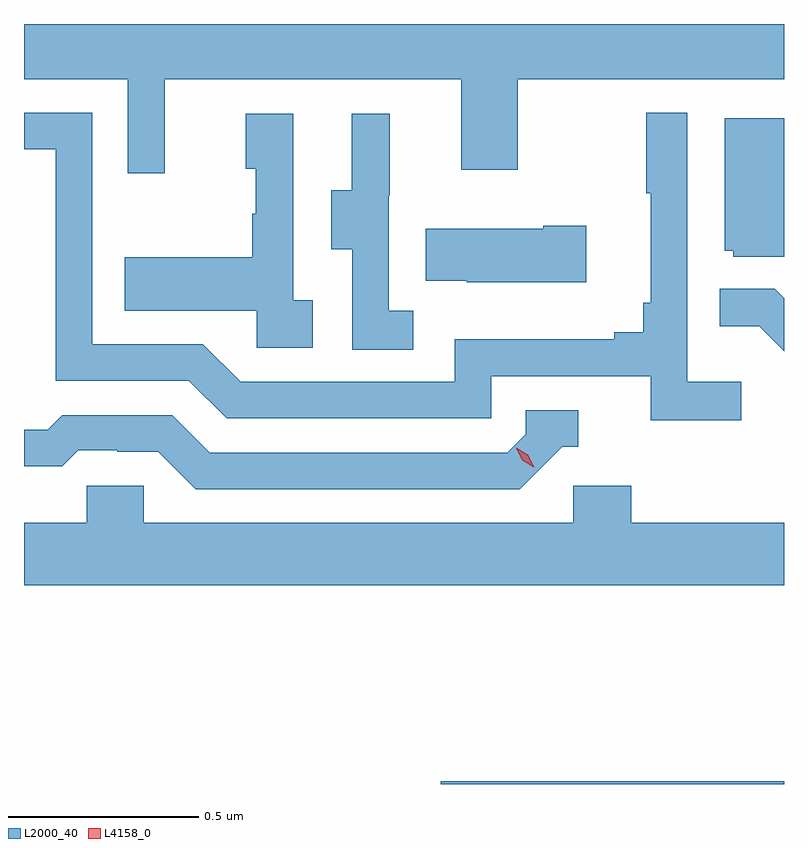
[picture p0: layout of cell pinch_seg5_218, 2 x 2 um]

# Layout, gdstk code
import gdstk
lib = gdstk.Library(unit=1e-6, precision=1e-09)
def R(c, l, rs):  # rectangles x0, y0, x1, y1
    for r in rs: c.add(gdstk.rectangle(r[:2], r[2:], *l))
def P(c, l, *ps):  # polygons
    for p in ps: c.add(gdstk.Polygon(p, *l))
L2000_40 = (2000, 40)
L4158_0 = (4158, 0)

pinch_seg5_218 = lib.new_cell('pinch_seg5_218')
R(pinch_seg5_218, L2000_40, [(961.355,910.849,962.258,910.856)])
P(pinch_seg5_218, L2000_40, [(960.629,912.704),(961.409,912.704),(961.409,912.465),(961.557,912.465),(961.557,912.704),(962.258,912.704),(962.258,912.849),(960.258,912.849),(960.258,912.704),(960.531,912.704),(960.531,912.456),(960.629,912.456)],
  [(962.146,911.908),(962.004,911.908),(962.004,912.616),(961.896,912.616),(961.896,912.403),(961.907,912.403),(961.907,912.115),(961.888,912.115),(961.888,912.038),(961.811,912.038),(961.811,912.019),(961.392,912.019),(961.392,911.907),(960.828,911.907),(960.729,912.006),(960.438,912.006),(960.438,912.615),(960.258,912.615),(960.258,912.519),(960.342,912.519),(960.342,911.91),(960.692,911.91),(960.791,911.811),(961.488,911.811),(961.488,911.922),(961.907,911.922),(961.907,911.806),(962.146,911.806)],
  [(961.018,912.122),(960.966,912.122),(960.966,912.613),(960.842,912.613),(960.842,912.468),(960.868,912.468),(960.868,912.35),(960.858,912.35),(960.858,912.235),(960.523,912.235),(960.523,912.095),(960.87,912.095),(960.87,911.997),(961.018,911.997)],
  [(961.282,912.095),(961.218,912.095),(961.218,912.399),(961.22,912.399),(961.22,912.613),(961.121,912.613),(961.121,912.411),(961.067,912.411),(961.067,912.256),(961.122,912.256),(961.122,911.992),(961.282,911.992)],
  [(962.258,912.601),(962.102,912.601),(962.102,912.252),(962.124,912.252),(962.124,912.237),(962.258,912.237)],
  [(961.738,912.318),(961.625,912.318),(961.625,912.31),(961.315,912.31),(961.315,912.173),(961.423,912.173),(961.423,912.17),(961.738,912.17)],
  [(962.258,912.127),(962.233,912.152),(962.089,912.152),(962.089,912.053),(962.193,912.053),(962.258,911.988)],
  [(961.674,911.736),(961.717,911.736),(961.717,911.832),(961.578,911.832),(961.578,911.769),(961.53,911.721),(960.747,911.721),(960.648,911.82),(960.359,911.82),(960.32,911.781),(960.258,911.781),(960.258,911.685),(960.359,911.685),(960.401,911.727),(960.504,911.727),(960.504,911.724),(960.611,911.724),(960.71,911.625),(961.563,911.625)],
  [(962.258,911.536),(961.856,911.536),(961.856,911.634),(961.704,911.634),(961.704,911.536),(960.573,911.536),(960.573,911.634),(960.423,911.634),(960.423,911.536),(960.258,911.536),(960.258,911.372),(962.258,911.372)])
P(pinch_seg5_218, L4158_0, [(961.6,911.682),(961.569,911.701),(961.553,911.734),(961.553,911.734),(961.553,911.734),(961.584,911.715),(961.601,911.683),(961.601,911.682)])

lib.write_gds('pinch_seg5_218.gds')
